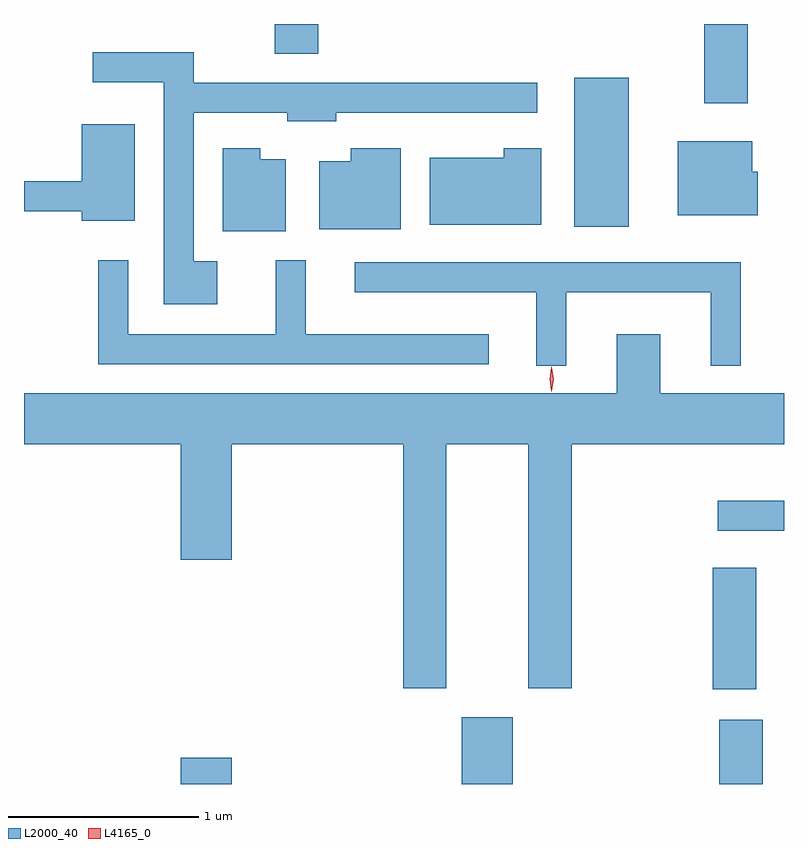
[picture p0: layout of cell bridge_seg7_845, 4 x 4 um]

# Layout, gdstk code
import gdstk
lib = gdstk.Library(unit=1e-6, precision=1e-09)
def R(c, l, rs):  # rectangles x0, y0, x1, y1
    for r in rs: c.add(gdstk.rectangle(r[:2], r[2:], *l))
def P(c, l, *ps):  # polygons
    for p in ps: c.add(gdstk.Polygon(p, *l))
L2000_40 = (2000, 40)
L4165_0 = (4165, 0)

bridge_seg7_845 = lib.new_cell('bridge_seg7_845')
R(bridge_seg7_845, L2000_40, [(374.916,1685.887,375.184,1686.024), (376.396,1685.887,376.664,1686.239), (377.751,1685.887,377.979,1686.224), (377.716,1686.386,377.944,1687.024), (377.743,1687.221,378.091,1687.379), (376.986,1688.821,377.274,1689.604), (377.671,1689.471,377.899,1689.887), (375.411,1689.731,375.639,1689.887)])
P(bridge_seg7_845, L2000_40, [(375.109,1688.639),(374.984,1688.639),(374.984,1689.421),(375.476,1689.421),(375.476,1689.376),(375.734,1689.376),(375.734,1689.421),(376.793,1689.421),(376.793,1689.579),(374.984,1689.579),(374.984,1689.739),(374.453,1689.739),(374.453,1689.581),(374.826,1689.581),(374.826,1688.411),(375.109,1688.411)],
  [(374.674,1689.359),(374.396,1689.359),(374.396,1689.059),(374.091,1689.059),(374.091,1688.901),(374.396,1688.901),(374.396,1688.851),(374.674,1688.851)],
  [(377.954,1689.109),(377.924,1689.109),(377.924,1689.269),(377.531,1689.269),(377.531,1688.881),(377.954,1688.881)],
  [(376.074,1689.234),(375.811,1689.234),(375.811,1689.164),(375.646,1689.164),(375.646,1688.806),(376.074,1688.806)],
  [(376.814,1689.234),(376.616,1689.234),(376.616,1689.184),(376.226,1689.184),(376.226,1688.831),(376.814,1688.831)],
  [(375.469,1689.174),(375.334,1689.174),(375.334,1689.234),(375.136,1689.234),(375.136,1688.796),(375.469,1688.796)],
  [(376.538,1688.254),(375.574,1688.254),(375.574,1688.643),(375.416,1688.643),(375.416,1688.254),(374.639,1688.254),(374.639,1688.643),(374.481,1688.643),(374.481,1688.096),(376.538,1688.096)],
  [(376.944,1688.476),(377.706,1688.476),(377.706,1688.088),(377.864,1688.088),(377.864,1688.634),(375.833,1688.634),(375.833,1688.476),(376.786,1688.476),(376.786,1688.088),(376.944,1688.088)],
  [(376.314,1687.676),(376.746,1687.676),(376.746,1686.391),(376.974,1686.391),(376.974,1687.676),(378.091,1687.676),(378.091,1687.944),(377.439,1687.944),(377.439,1688.254),(377.211,1688.254),(377.211,1687.944),(374.091,1687.944),(374.091,1687.676),(374.916,1687.676),(374.916,1687.066),(375.184,1687.066),(375.184,1687.676),(376.086,1687.676),(376.086,1686.391),(376.314,1686.391)])
P(bridge_seg7_845, L4165_0, [(376.867,1687.955),(376.858,1688.018),(376.867,1688.081),(376.868,1688.082),(376.868,1688.081),(376.878,1688.018),(376.868,1687.955),(376.868,1687.955)])

lib.write_gds('bridge_seg7_845.gds')
